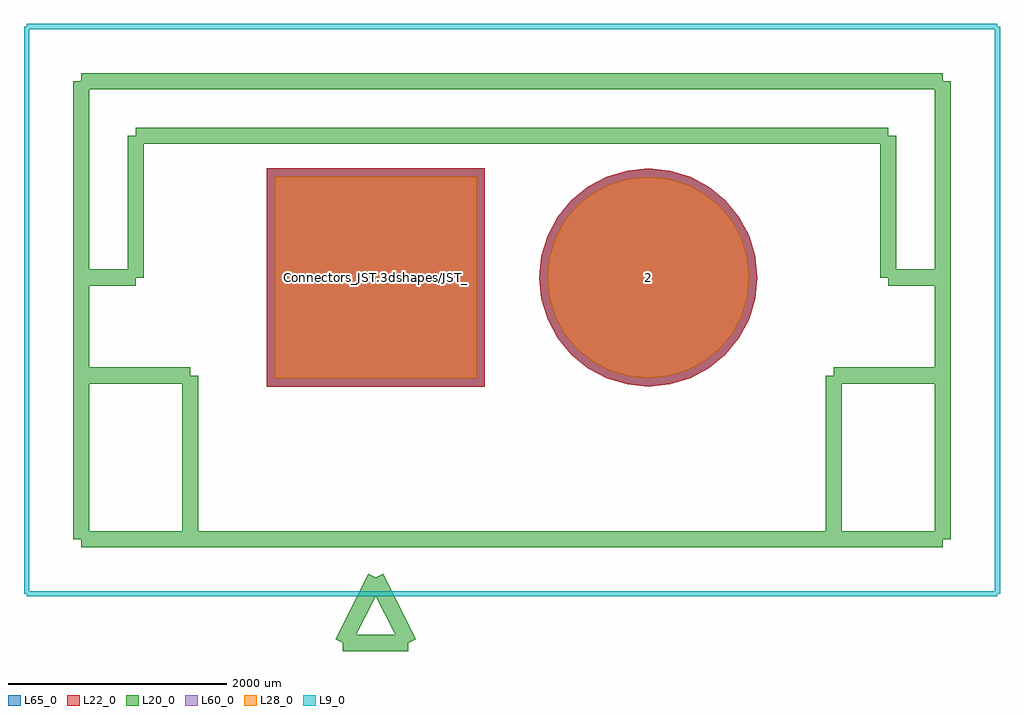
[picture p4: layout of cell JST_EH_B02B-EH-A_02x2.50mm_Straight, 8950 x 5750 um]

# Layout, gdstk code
import gdstk
lib = gdstk.Library(unit=1e-6, precision=1e-09)
def R(c, l, rs):  # rectangles x0, y0, x1, y1
    for r in rs: c.add(gdstk.rectangle(r[:2], r[2:], *l))
def P(c, l, *ps):  # polygons
    for p in ps: c.add(gdstk.Polygon(p, *l))
L9_0 = (9, 0)
L20_0 = (20, 0)
L22_0 = (22, 0)
L28_0 = (28, 0)
L60_0 = (60, 0)
L65_0 = (65, 0)

jst_eh_b02b_eh_a_02x2_50 = lib.new_cell('JST_EH_B02B-EH-A_02x2.50mm_Straight')
R(jst_eh_b02b_eh_a_02x2_50, L22_0, [(-1000,-1000,1000,1000)])
P(jst_eh_b02b_eh_a_02x2_50, L22_0, [(3500,0),(3480.785,195.09),(3423.88,382.683),(3331.47,555.57),(3207.107,707.107),(3055.57,831.47),(2882.683,923.88),(2695.09,980.785),(2500,1000),(2304.91,980.785),(2117.317,923.88),(1944.43,831.47),(1792.893,707.107),(1668.53,555.57),(1576.12,382.683),(1519.215,195.09),(1500,0),(1519.215,-195.09),(1576.12,-382.683),(1668.53,-555.57),(1792.893,-707.107),(1944.43,-831.47),(2117.317,-923.88),(2304.91,-980.785),(2500,-1000),(2695.09,-980.785),(2882.683,-923.88),(3055.57,-831.47),(3207.107,-707.107),(3331.47,-555.57),(3423.88,-382.683),(3480.785,-195.09)])
R(jst_eh_b02b_eh_a_02x2_50, L28_0, [(-925,-925,925,925)])
P(jst_eh_b02b_eh_a_02x2_50, L28_0, [(3425,0),(3407.226,180.459),(3354.589,353.982),(3269.109,513.902),(3154.074,654.074),(3013.902,769.109),(2853.982,854.589),(2680.459,907.226),(2500,925),(2319.541,907.226),(2146.018,854.589),(1986.098,769.109),(1845.926,654.074),(1730.891,513.902),(1645.411,353.982),(1592.774,180.459),(1575,0),(1592.774,-180.459),(1645.411,-353.982),(1730.891,-513.902),(1845.926,-654.074),(1986.098,-769.109),(2146.018,-854.589),(2319.541,-907.226),(2500,-925),(2680.459,-907.226),(2853.982,-854.589),(3013.902,-769.109),(3154.074,-654.074),(3269.109,-513.902),(3354.589,-353.982),(3407.226,-180.459)])
R(jst_eh_b02b_eh_a_02x2_50, L60_0, [(-925,-925,925,925)])
P(jst_eh_b02b_eh_a_02x2_50, L60_0, [(3425,0),(3407.226,180.459),(3354.589,353.982),(3269.109,513.902),(3154.074,654.074),(3013.902,769.109),(2853.982,854.589),(2680.459,907.226),(2500,925),(2319.541,907.226),(2146.018,854.589),(1986.098,769.109),(1845.926,654.074),(1730.891,513.902),(1645.411,353.982),(1592.774,180.459),(1575,0),(1592.774,-180.459),(1645.411,-353.982),(1730.891,-513.902),(1845.926,-654.074),(1986.098,-769.109),(2146.018,-854.589),(2319.541,-907.226),(2500,-925),(2680.459,-907.226),(2853.982,-854.589),(3013.902,-769.109),(3154.074,-654.074),(3269.109,-513.902),(3354.589,-353.982),(3407.226,-180.459)])
R(jst_eh_b02b_eh_a_02x2_50, L65_0, [(-1000,-1000,1000,1000)])
P(jst_eh_b02b_eh_a_02x2_50, L65_0, [(3500,0),(3480.785,195.09),(3423.88,382.683),(3331.47,555.57),(3207.107,707.107),(3055.57,831.47),(2882.683,923.88),(2695.09,980.785),(2500,1000),(2304.91,980.785),(2117.317,923.88),(1944.43,831.47),(1792.893,707.107),(1668.53,555.57),(1576.12,382.683),(1519.215,195.09),(1500,0),(1519.215,-195.09),(1576.12,-382.683),(1668.53,-555.57),(1792.893,-707.107),(1944.43,-831.47),(2117.317,-923.88),(2304.91,-980.785),(2500,-1000),(2695.09,-980.785),(2882.683,-923.88),(3055.57,-831.47),(3207.107,-707.107),(3331.47,-555.57),(3423.88,-382.683),(3480.785,-195.09)])
jst_eh_b02b_eh_a_02x2_50.add(gdstk.FlexPath([(5700,2300),(-3200,2300)], 50, ends="flush", simple_path=True, layer=9, datatype=0))  # L9_0
jst_eh_b02b_eh_a_02x2_50.add(gdstk.FlexPath([(5700,-2900),(5700,2300)], 50, ends="flush", simple_path=True, layer=9, datatype=0))  # L9_0
jst_eh_b02b_eh_a_02x2_50.add(gdstk.FlexPath([(-3200,-2900),(5700,-2900)], 50, ends="flush", simple_path=True, layer=9, datatype=0))  # L9_0
jst_eh_b02b_eh_a_02x2_50.add(gdstk.FlexPath([(-3200,2300),(-3200,-2900)], 50, ends="flush", simple_path=True, layer=9, datatype=0))  # L9_0
jst_eh_b02b_eh_a_02x2_50.add(gdstk.FlexPath([(300,-3350),(0,-2750)], 149.998, ends="flush", simple_path=True, layer=20, datatype=0))  # L20_0
jst_eh_b02b_eh_a_02x2_50.add(gdstk.FlexPath([(-300,-3350),(300,-3350)], 149.998, ends="flush", simple_path=True, layer=20, datatype=0))  # L20_0
jst_eh_b02b_eh_a_02x2_50.add(gdstk.FlexPath([(0,-2750),(-300,-3350)], 149.998, ends="flush", simple_path=True, layer=20, datatype=0))  # L20_0
jst_eh_b02b_eh_a_02x2_50.add(gdstk.FlexPath([(4200,-900),(4200,-2400)], 149.998, ends="flush", simple_path=True, layer=20, datatype=0))  # L20_0
jst_eh_b02b_eh_a_02x2_50.add(gdstk.FlexPath([(5200,-900),(4200,-900)], 149.998, ends="flush", simple_path=True, layer=20, datatype=0))  # L20_0
jst_eh_b02b_eh_a_02x2_50.add(gdstk.FlexPath([(-1700,-900),(-1700,-2400)], 149.998, ends="flush", simple_path=True, layer=20, datatype=0))  # L20_0
jst_eh_b02b_eh_a_02x2_50.add(gdstk.FlexPath([(-2700,-900),(-1700,-900)], 149.998, ends="flush", simple_path=True, layer=20, datatype=0))  # L20_0
jst_eh_b02b_eh_a_02x2_50.add(gdstk.FlexPath([(4700,0),(5200,0)], 149.998, ends="flush", simple_path=True, layer=20, datatype=0))  # L20_0
jst_eh_b02b_eh_a_02x2_50.add(gdstk.FlexPath([(4700,1300),(4700,0)], 149.998, ends="flush", simple_path=True, layer=20, datatype=0))  # L20_0
jst_eh_b02b_eh_a_02x2_50.add(gdstk.FlexPath([(-2200,1300),(4700,1300)], 149.998, ends="flush", simple_path=True, layer=20, datatype=0))  # L20_0
jst_eh_b02b_eh_a_02x2_50.add(gdstk.FlexPath([(-2200,0),(-2200,1300)], 149.998, ends="flush", simple_path=True, layer=20, datatype=0))  # L20_0
jst_eh_b02b_eh_a_02x2_50.add(gdstk.FlexPath([(-2700,0),(-2200,0)], 149.998, ends="flush", simple_path=True, layer=20, datatype=0))  # L20_0
jst_eh_b02b_eh_a_02x2_50.add(gdstk.FlexPath([(5200,1800),(-2700,1800)], 149.998, ends="flush", simple_path=True, layer=20, datatype=0))  # L20_0
jst_eh_b02b_eh_a_02x2_50.add(gdstk.FlexPath([(5200,-2400),(5200,1800)], 149.998, ends="flush", simple_path=True, layer=20, datatype=0))  # L20_0
jst_eh_b02b_eh_a_02x2_50.add(gdstk.FlexPath([(-2700,-2400),(5200,-2400)], 149.998, ends="flush", simple_path=True, layer=20, datatype=0))  # L20_0
jst_eh_b02b_eh_a_02x2_50.add(gdstk.FlexPath([(-2700,1800),(-2700,-2400)], 149.998, ends="flush", simple_path=True, layer=20, datatype=0))  # L20_0
jst_eh_b02b_eh_a_02x2_50.add(gdstk.Label('Connectors_JST.3dshapes/JST_EH_B02B-EH-A_02x2.50mm_Straight.wrl', (0,0), layer=12, texttype=0))
jst_eh_b02b_eh_a_02x2_50.add(gdstk.Label('2', (2500,0), layer=28, texttype=0))
jst_eh_b02b_eh_a_02x2_50.add(gdstk.Label('1', (0,0), layer=28, texttype=0))
jst_eh_b02b_eh_a_02x2_50.add(gdstk.Label('type', (0,-5000), layer=9, texttype=0))
jst_eh_b02b_eh_a_02x2_50.add(gdstk.Label('devicename', (0,3000), layer=9, texttype=0))

lib.write_gds('JST_EH_B02B-EH-A_02x2.50mm_Straight.gds')
